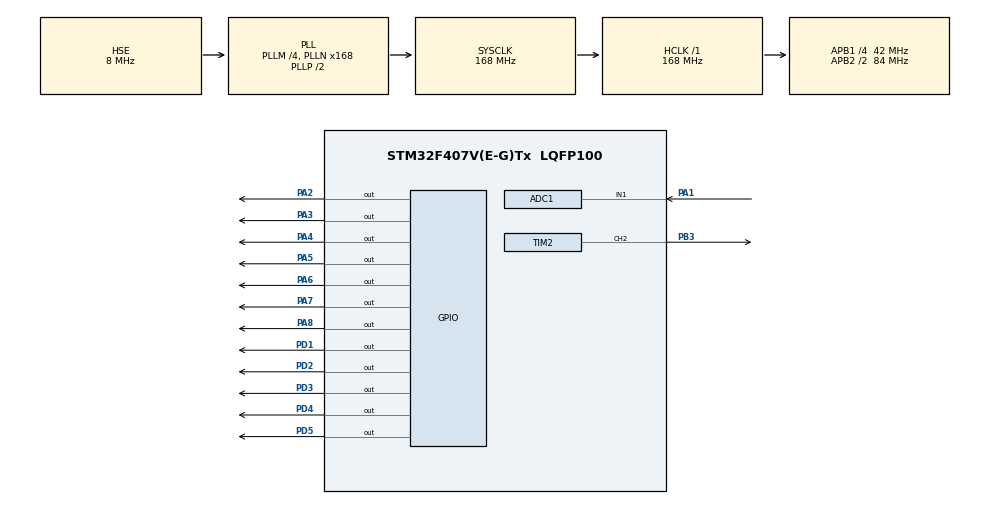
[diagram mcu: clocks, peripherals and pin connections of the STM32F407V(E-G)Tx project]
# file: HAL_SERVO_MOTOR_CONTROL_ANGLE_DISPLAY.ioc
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ADC1.Channel-0\#ChannelRegularConversion=ADC_CHANNEL_1
ADC1.ContinuousConvMode=DISABLE
ADC1.NbrOfConversionFlag=1
ADC1.Rank-0\#ChannelRegularConversion=1
ADC1.Resolution=ADC_RESOLUTION_12B
ADC1.SamplingTime-0\#ChannelRegularConversion=ADC_SAMPLETIME_56CYCLES
ADC1.master=1
Mcu.Family=STM32F4
Mcu.Name=STM32F407V(E-G)Tx
Mcu.Package=LQFP100
NVIC.PriorityGroup=NVIC_PRIORITYGROUP_4
NVIC.TIM4_IRQn=true\:0\:0\:false\:false\:true\:true\:true\:true
PA1.Signal=ADCx_IN1
PA2.Signal=GPIO_Output
PA3.Signal=GPIO_Output
PA4.Signal=GPIO_Output
PA5.Signal=GPIO_Output
PA6.Signal=GPIO_Output
PA7.Signal=GPIO_Output
PA8.Signal=GPIO_Output
PB3.Signal=S_TIM2_CH2
PD1.Signal=GPIO_Output
PD2.Signal=GPIO_Output
PD3.Signal=GPIO_Output
PD4.Signal=GPIO_Output
PD5.Signal=GPIO_Output
PH0-OSC_IN.Mode=HSE-External-Oscillator
PH0-OSC_IN.Signal=RCC_OSC_IN
PH1-OSC_OUT.Mode=HSE-External-Oscillator
PH1-OSC_OUT.Signal=RCC_OSC_OUT
ProjectManager.HeapSize=0x200
ProjectManager.StackSize=0x400
ProjectManager.TargetToolchain=STM32CubeIDE
RCC.48MHZClocksFreq_Value=84000000
RCC.AHBFreq_Value=168000000
RCC.APB1CLKDivider=RCC_HCLK_DIV4
RCC.APB1Freq_Value=42000000
RCC.APB1TimFreq_Value=84000000
RCC.APB2CLKDivider=RCC_HCLK_DIV2
RCC.APB2Freq_Value=84000000
RCC.APB2TimFreq_Value=168000000
RCC.CortexFreq_Value=168000000
RCC.HCLKFreq_Value=168000000
RCC.HSE_VALUE=8000000
RCC.HSI_VALUE=16000000
RCC.LSE_VALUE=32768
RCC.PLLM=4
RCC.PLLN=168
RCC.PLLSourceVirtual=RCC_PLLSOURCE_HSE
RCC.SYSCLKFreq_VALUE=168000000
RCC.SYSCLKSource=RCC_SYSCLKSOURCE_PLLCLK
RCC.VCOOutputFreq_Value=336000000
SH.ADCx_IN1.0=ADC1_IN1,IN1
SH.S_TIM2_CH2.0=TIM2_CH2,PWM Generation2 CH2
TIM2.Channel-PWM\ Generation1\ CH1=TIM_CHANNEL_1
TIM2.Channel-PWM\ Generation2\ CH2=TIM_CHANNEL_2
TIM2.Period=19999
TIM2.Prescaler=83
TIM4.Period=4999
TIM4.Prescaler=83
VP_TIM2_VS_ClockSourceINT.Mode=Internal
VP_TIM4_VS_ClockSourceINT.Mode=Internal
board=custom

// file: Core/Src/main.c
/* USER CODE BEGIN Header */
/**
  ******************************************************************************
  * @file           : main.c
  * @brief          : Main program body
  ******************************************************************************
  * @attention
  *
  * Copyright (c) 2024 STMicroelectronics.
  * All rights reserved.
  *
  * This software is licensed under terms that can be found in the LICENSE file
  * in the root directory of this software component.
  * If no LICENSE file comes with this software, it is provided AS-IS.
  *
  ******************************************************************************
  */
/* USER CODE END Header */
#include "main.h"

ADC_HandleTypeDef hadc1;

TIM_HandleTypeDef htim2;
TIM_HandleTypeDef htim4;

void SystemClock_Config(void);
static void MX_GPIO_Init(void);
static void MX_ADC1_Init(void);
static void MX_TIM2_Init(void);
static void MX_TIM4_Init(void);

/* USER CODE BEGIN 0 */
uint16_t adc_value;
uint16_t pulse, angle;
uint8_t config;
uint8_t seven_config[] = {0x3F, 0x06, 0x5B, 0x4F, 0x66, 0x6D, 0x7D, 0x07, 0x7F, 0x6F}; // 7-segment display configuration for digits 0-9
uint8_t digits[4]; // Array to hold the digits to be displayed
int count = 1;

/**
  * @brief Displays a digit on the 7-segment display.
  * @param digit: The digit to be displayed (0-9).
  * @retval None
  */
void seven_display(uint8_t digit) {
    HAL_GPIO_WritePin(GPIOA,  GPIO_PIN_2 | GPIO_PIN_3 | GPIO_PIN_4 | GPIO_PIN_5 | GPIO_PIN_6 | GPIO_PIN_7 | GPIO_PIN_8, SET); // Turn off all segments
    config = seven_config[digit]; // Get the configuration for the digit

    if(config & 0x01) HAL_GPIO_WritePin(GPIOA, GPIO_PIN_2, RESET); // Turn on segment 1 if required
    if(config & 0x02) HAL_GPIO_WritePin(GPIOA, GPIO_PIN_3, RESET); // Turn on segment 2 if required
    if(config & 0x04) HAL_GPIO_WritePin(GPIOA, GPIO_PIN_4, RESET); // Turn on segment 3 if required
    if(config & 0x08) HAL_GPIO_WritePin(GPIOA, GPIO_PIN_5, RESET); // Turn on segment 4 if required
    if(config & 0x10) HAL_GPIO_WritePin(GPIOA, GPIO_PIN_6, RESET); // Turn on segment 5 if required
    if(config & 0x20) HAL_GPIO_WritePin(GPIOA, GPIO_PIN_7, RESET); // Turn on segment 6 if required
    if(config & 0x40) HAL_GPIO_WritePin(GPIOA, GPIO_PIN_8, RESET); // Turn on segment 7 if required
}

/**
  * @brief Configures the digits to be displayed on the 7-segment display.
  * @param number: The number to be displayed.
  * @retval None
  */
void digit_config(uint16_t number) {
    digits[1] = number / 100; // Get the tens digit
    digits[2] = (number / 10) % 10; // Get the units digit
    digits[3] = number % 10; // Get the tenths digit
    digits[0] = 0; // Get the hundredths digit
    if(count == 16) count = 1; // Reset the count if it reaches 16
    HAL_GPIO_WritePin(GPIOD, GPIO_PIN_1 | GPIO_PIN_2 | GPIO_PIN_3 | GPIO_PIN_4 , RESET); // Turn off all digit enable pins

    if(count & 0x01) {
        HAL_GPIO_WritePin(GPIOD, GPIO_PIN_1, SET); // Enable digit 1
        HAL_GPIO_WritePin(GPIOD, GPIO_PIN_5, SET); // Enable decimal point
        seven_display(digits[3]); // Display the hundredths digit
    }
    if(count & 0x02) {
        HAL_GPIO_WritePin(GPIOD, GPIO_PIN_2, SET); // Enable digit 2
        HAL_GPIO_WritePin(GPIOD, GPIO_PIN_5, SET); // Enable decimal point
        seven_display(digits[2]); // Display the tenths digit
    }
    if(count & 0x04) {
        HAL_GPIO_WritePin(GPIOD, GPIO_PIN_3, SET); // Enable digit 3
        HAL_GPIO_WritePin(GPIOD, GPIO_PIN_5, RESET); // Disable decimal point
        seven_display(digits[1]); // Display the units digit
    }
    if(count & 0x08) {
        HAL_GPIO_WritePin(GPIOD, GPIO_PIN_4, SET); // Enable digit 4
        HAL_GPIO_WritePin(GPIOD, GPIO_PIN_5, SET); // Enable decimal point
        seven_display(digits[0]); // Display the tens digit
    }
    count *= 2; // Double the count for the next digit
}

/**
  * @brief Reads the ADC value.
  * @retval None
  */
void read_adc() {
    HAL_ADC_Start(&hadc1);
    if(HAL_ADC_PollForConversion(&hadc1, 100) == HAL_OK) {
        adc_value = HAL_ADC_GetValue(&hadc1);
    }
}

/**
  * @brief Maps a value from one range to another.
  * @param value: The input value.
  * @param in_min: The minimum value of the input range.
  * @param in_max: The maximum value of the input range.
  * @param out_min: The minimum value of the output range.
  * @param out_max: The maximum value of the output range.
  * @retval The mapped value.
  */
uint16_t map(uint16_t value, uint16_t in_min, uint16_t in_max, uint16_t out_min, uint16_t out_max) {
    return (value - in_min) * (out_max - out_min) / (in_max - in_min) + out_min;
}

/**
  * @brief Maps a value from one range to another (alternative implementation).
  * @param value: The input value.
  * @param in_min: The minimum value of the input range.
  * @param in_max: The maximum value of the input range.
  * @param out_min: The minimum value of the output range.
  * @param out_max: The maximum value of the output range.
  * @retval The mapped value.
  */
uint16_t map2(uint16_t value, uint16_t in_min, uint16_t in_max, uint16_t out_min, uint16_t out_max) {
    return (value - in_min) * (out_max - out_min) / (in_max - in_min) + out_min;
}

/**
  * @brief This function handles TIM4 global interrupt.
  * @retval None
  */
void TIM4_IRQHandler(void) {
    /* USER CODE BEGIN TIM2_IRQn 0 */
    read_adc();
    pulse = map(adc_value, 0, 4095, 499, 2499);
    __HAL_TIM_SET_COMPARE(&htim2, TIM_CHANNEL_2, pulse);
    angle = map2(pulse, 499, 2499, 0, 180);
    digit_config(angle);
    /* USER CODE END TIM2_IRQn 0 */
    HAL_TIM_IRQHandler(&htim4);
    /* USER CODE BEGIN TIM2_IRQn 1 */

    /* USER CODE END TIM2_IRQn 1 */
}
/* USER CODE END 0 */

int main(void)
{

  /* MCU Configuration--------------------------------------------------------*/

  /* Reset of all peripherals, Initializes the Flash interface and the Systick. */
  HAL_Init();

  /* Configure the system clock */
  SystemClock_Config();

  /* Initialize all configured peripherals */
  MX_GPIO_Init();
  MX_ADC1_Init();
  MX_TIM2_Init();
  MX_TIM4_Init();
  /* USER CODE BEGIN 2 */
    HAL_TIM_Base_Start_IT(&htim4);
    HAL_TIM_PWM_Start(&htim2, TIM_CHANNEL_2);

  /* USER CODE END 2 */

  /* Infinite loop */
    while (1) {

    }
}

void SystemClock_Config(void)
{
  RCC_OscInitTypeDef RCC_OscInitStruct = {0};
  RCC_ClkInitTypeDef RCC_ClkInitStruct = {0};

  /** Configure the main internal regulator output voltage
  */
  __HAL_RCC_PWR_CLK_ENABLE();
  __HAL_PWR_VOLTAGESCALING_CONFIG(PWR_REGULATOR_VOLTAGE_SCALE1);

  /** Initializes the RCC Oscillators according to the specified parameters
  * in the RCC_OscInitTypeDef structure.
  */
  RCC_OscInitStruct.OscillatorType = RCC_OSCILLATORTYPE_HSE;
  RCC_OscInitStruct.HSEState = RCC_HSE_ON;
  RCC_OscInitStruct.PLL.PLLState = RCC_PLL_ON;
  RCC_OscInitStruct.PLL.PLLSource = RCC_PLLSOURCE_HSE;
  RCC_OscInitStruct.PLL.PLLM = 4;
  RCC_OscInitStruct.PLL.PLLN = 168;
  RCC_OscInitStruct.PLL.PLLP = RCC_PLLP_DIV2;
  RCC_OscInitStruct.PLL.PLLQ = 4;
  if (HAL_RCC_OscConfig(&RCC_OscInitStruct) != HAL_OK)
  {
    Error_Handler();
  }

  /** Initializes the CPU, AHB and APB buses clocks
  */
  RCC_ClkInitStruct.ClockType = RCC_CLOCKTYPE_HCLK|RCC_CLOCKTYPE_SYSCLK
                              |RCC_CLOCKTYPE_PCLK1|RCC_CLOCKTYPE_PCLK2;
  RCC_ClkInitStruct.SYSCLKSource = RCC_SYSCLKSOURCE_PLLCLK;
  RCC_ClkInitStruct.AHBCLKDivider = RCC_SYSCLK_DIV1;
  RCC_ClkInitStruct.APB1CLKDivider = RCC_HCLK_DIV4;
  RCC_ClkInitStruct.APB2CLKDivider = RCC_HCLK_DIV2;

  if (HAL_RCC_ClockConfig(&RCC_ClkInitStruct, FLASH_LATENCY_5) != HAL_OK)
  {
    Error_Handler();
  }
}

static void MX_ADC1_Init(void)
{

  ADC_ChannelConfTypeDef sConfig = {0};

  /** Configure the global features of the ADC (Clock, Resolution, Data Alignment and number of conversion)
  */
  hadc1.Instance = ADC1;
  hadc1.Init.ClockPrescaler = ADC_CLOCK_SYNC_PCLK_DIV4;
  hadc1.Init.Resolution = ADC_RESOLUTION_12B;
  hadc1.Init.ScanConvMode = DISABLE;
  hadc1.Init.ContinuousConvMode = DISABLE;
  hadc1.Init.DiscontinuousConvMode = DISABLE;
  hadc1.Init.ExternalTrigConvEdge = ADC_EXTERNALTRIGCONVEDGE_NONE;
  hadc1.Init.ExternalTrigConv = ADC_SOFTWARE_START;
  hadc1.Init.DataAlign = ADC_DATAALIGN_RIGHT;
  hadc1.Init.NbrOfConversion = 1;
  hadc1.Init.DMAContinuousRequests = DISABLE;
  hadc1.Init.EOCSelection = ADC_EOC_SINGLE_CONV;
  if (HAL_ADC_Init(&hadc1) != HAL_OK)
  {
    Error_Handler();
  }

  /** Configure for the selected ADC regular channel its corresponding rank in the sequencer and its sample time.
  */
  sConfig.Channel = ADC_CHANNEL_1;
  sConfig.Rank = 1;
  sConfig.SamplingTime = ADC_SAMPLETIME_56CYCLES;
  if (HAL_ADC_ConfigChannel(&hadc1, &sConfig) != HAL_OK)
  {
    Error_Handler();
  }

}

static void MX_TIM2_Init(void)
{

  TIM_ClockConfigTypeDef sClockSourceConfig = {0};
  TIM_MasterConfigTypeDef sMasterConfig = {0};
  TIM_OC_InitTypeDef sConfigOC = {0};

  htim2.Instance = TIM2;
  htim2.Init.Prescaler = 83;
  htim2.Init.CounterMode = TIM_COUNTERMODE_UP;
  htim2.Init.Period = 19999;
  htim2.Init.ClockDivision = TIM_CLOCKDIVISION_DIV1;
  htim2.Init.AutoReloadPreload = TIM_AUTORELOAD_PRELOAD_DISABLE;
  if (HAL_TIM_Base_Init(&htim2) != HAL_OK)
  {
    Error_Handler();
  }
  sClockSourceConfig.ClockSource = TIM_CLOCKSOURCE_INTERNAL;
  if (HAL_TIM_ConfigClockSource(&htim2, &sClockSourceConfig) != HAL_OK)
  {
    Error_Handler();
  }
  if (HAL_TIM_PWM_Init(&htim2) != HAL_OK)
  {
    Error_Handler();
  }
  sMasterConfig.MasterOutputTrigger = TIM_TRGO_RESET;
  sMasterConfig.MasterSlaveMode = TIM_MASTERSLAVEMODE_DISABLE;
  if (HAL_TIMEx_MasterConfigSynchronization(&htim2, &sMasterConfig) != HAL_OK)
  {
    Error_Handler();
  }
  sConfigOC.OCMode = TIM_OCMODE_PWM1;
  sConfigOC.Pulse = 0;
  sConfigOC.OCPolarity = TIM_OCPOLARITY_HIGH;
  sConfigOC.OCFastMode = TIM_OCFAST_DISABLE;
  if (HAL_TIM_PWM_ConfigChannel(&htim2, &sConfigOC, TIM_CHANNEL_2) != HAL_OK)
  {
    Error_Handler();
  }
  HAL_TIM_MspPostInit(&htim2);

}

static void MX_TIM4_Init(void)
{

  TIM_ClockConfigTypeDef sClockSourceConfig = {0};
  TIM_MasterConfigTypeDef sMasterConfig = {0};

  htim4.Instance = TIM4;
  htim4.Init.Prescaler = 83;
  htim4.Init.CounterMode = TIM_COUNTERMODE_UP;
  htim4.Init.Period = 4999;
  htim4.Init.ClockDivision = TIM_CLOCKDIVISION_DIV1;
  htim4.Init.AutoReloadPreload = TIM_AUTORELOAD_PRELOAD_DISABLE;
  if (HAL_TIM_Base_Init(&htim4) != HAL_OK)
  {
    Error_Handler();
  }
  sClockSourceConfig.ClockSource = TIM_CLOCKSOURCE_INTERNAL;
  if (HAL_TIM_ConfigClockSource(&htim4, &sClockSourceConfig) != HAL_OK)
  {
    Error_Handler();
  }
  sMasterConfig.MasterOutputTrigger = TIM_TRGO_RESET;
  sMasterConfig.MasterSlaveMode = TIM_MASTERSLAVEMODE_DISABLE;
  if (HAL_TIMEx_MasterConfigSynchronization(&htim4, &sMasterConfig) != HAL_OK)
  {
    Error_Handler();
  }

}

static void MX_GPIO_Init(void)
{
  GPIO_InitTypeDef GPIO_InitStruct = {0};

  /* GPIO Ports Clock Enable */
  __HAL_RCC_GPIOH_CLK_ENABLE();
  __HAL_RCC_GPIOA_CLK_ENABLE();
  __HAL_RCC_GPIOD_CLK_ENABLE();
  __HAL_RCC_GPIOB_CLK_ENABLE();

  /*Configure GPIO pin Output Level */
  HAL_GPIO_WritePin(GPIOA, GPIO_PIN_2|GPIO_PIN_3|GPIO_PIN_4|GPIO_PIN_5
                          |GPIO_PIN_6|GPIO_PIN_7|GPIO_PIN_8, GPIO_PIN_RESET);

  /*Configure GPIO pin Output Level */
  HAL_GPIO_WritePin(GPIOD, GPIO_PIN_1|GPIO_PIN_2|GPIO_PIN_3|GPIO_PIN_4
                          |GPIO_PIN_5, GPIO_PIN_RESET);

  /*Configure GPIO pins : PA2 PA3 PA4 PA5
                           PA6 PA7 PA8 */
  GPIO_InitStruct.Pin = GPIO_PIN_2|GPIO_PIN_3|GPIO_PIN_4|GPIO_PIN_5
                          |GPIO_PIN_6|GPIO_PIN_7|GPIO_PIN_8;
  GPIO_InitStruct.Mode = GPIO_MODE_OUTPUT_PP;
  GPIO_InitStruct.Pull = GPIO_NOPULL;
  GPIO_InitStruct.Speed = GPIO_SPEED_FREQ_LOW;
  HAL_GPIO_Init(GPIOA, &GPIO_InitStruct);

  /*Configure GPIO pins : PD1 PD2 PD3 PD4
                           PD5 */
  GPIO_InitStruct.Pin = GPIO_PIN_1|GPIO_PIN_2|GPIO_PIN_3|GPIO_PIN_4
                          |GPIO_PIN_5;
  GPIO_InitStruct.Mode = GPIO_MODE_OUTPUT_PP;
  GPIO_InitStruct.Pull = GPIO_NOPULL;
  GPIO_InitStruct.Speed = GPIO_SPEED_FREQ_LOW;
  HAL_GPIO_Init(GPIOD, &GPIO_InitStruct);

}

void Error_Handler(void)
{
}
